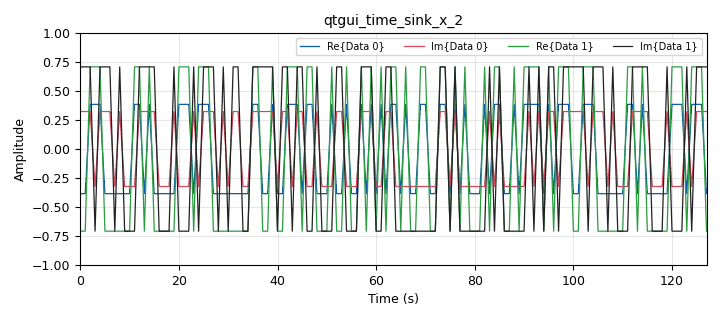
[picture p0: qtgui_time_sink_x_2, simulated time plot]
options:
  parameters:
    author: keremenhos
    generate_options: qt_gui
    id: nono2
    output_language: python
    title: Not titled yet
  states: {}

blocks:
- name: dat_len
  id: variable
  parameters:
    value: '100'
  states: {}
- name: filt_len
  id: variable
  parameters:
    value: span*sps+1
  states: {}
- name: frame_len
  id: variable
  parameters:
    value: dat_len*filt_len
  states: {}
- name: freq
  id: variable_qtgui_range
  parameters:
    label: Frequency
    orient: Qt.Horizontal
    start: '0'
    step: '0.01'
    stop: '0.5'
    value: '0.25'
  states: {}
- name: inph
  id: variable
  parameters:
    value: numpy.multiply(rrrc,numpy.cos(numpy.array(range(filt_len))*2*math.pi*freq))
  states: {}
- name: quad
  id: variable
  parameters:
    value: numpy.multiply(rrrc,numpy.sin(numpy.array(range(filt_len))*2*math.pi*freq))
  states: {}
- name: rrrc
  id: variable_rrc_filter_taps
  parameters:
    alpha: '0.1'
    gain: '1.35'
    ntaps: filt_len
    samp_rate: samp_rate
    sym_rate: samp_rate/sps
  states: {}
- name: samp_rate
  id: variable
  parameters:
    value: '1000000'
  states: {}
- name: span
  id: variable
  parameters:
    value: '4'
  states: {}
- name: sps
  id: variable
  parameters:
    value: '2'
  states: {}
- name: analog_random_source_x_0_0
  id: analog_random_source_x
  parameters:
    max: '4'
    min: '0'
    num_samps: dat_len
    repeat: 'True'
    type: int
  states: {}
- name: blocks_add_xx_0
  id: blocks_add_xx
  parameters:
    type: float
  states: {}
- name: blocks_complex_to_float_0
  id: blocks_complex_to_float
  parameters: {}
  states: {}
- name: blocks_complex_to_mag_squared_0
  id: blocks_complex_to_mag_squared
  parameters: {}
  states: {state: disabled}
- name: blocks_deinterleave_0
  id: blocks_deinterleave
  parameters:
    type: complex
  states: {state: disabled}
- name: blocks_delay_0
  id: blocks_delay
  parameters:
    delay: '1'
    type: complex
  states: {}
- name: blocks_float_to_complex_1
  id: blocks_float_to_complex
  parameters: {}
  states: {}
- name: blocks_keep_m_in_n_0
  id: blocks_keep_m_in_n
  parameters:
    m: '1'
    n: filt_len+1
    offset: filt_len-2
    type: complex
  states: {}
- name: blocks_stream_to_tagged_stream_0
  id: blocks_stream_to_tagged_stream
  parameters:
    len_tag_key: '"data_len"'
    packet_len: '100'
    type: complex
  states: {}
- name: blocks_throttle_1
  id: blocks_throttle
  parameters:
    samples_per_second: samp_rate
    type: float
  states: {}
- name: blocks_vector_insert_x_0
  id: blocks_vector_insert_x
  parameters:
    offset: '0'
    period: filt_len+1
    type: float
    vector: '[0]*filt_len'
  states: {}
- name: blocks_vector_insert_x_0_0
  id: blocks_vector_insert_x
  parameters:
    offset: '0'
    period: filt_len+1
    type: float
    vector: '[0]*filt_len'
  states: {}
- name: epy_block_0
  id: epy_block
  parameters:
    _source_code: |
      """
      Embedded Python Blocks:

      Each time this file is saved, GRC will instantiate the first class it finds
      to get ports and parameters of your block. The arguments to __init__  will
      be the parameters. All of them are required to have default values!
      """

      import numpy as np
      from gnuradio import gr


      class blk(gr.sync_block):  # other base classes are basic_block, decim_block, interp_block
          """Embedded Python Block example - a simple multiply const"""

          def __init__(self, example_param=1.0):  # only default arguments here
              """arguments to this function show up as parameters in GRC"""
              gr.sync_block.__init__(
                  self,
                  name='QAM Modulator',   # will show up in GRC
                  in_sig=[np.int32],
                  out_sig=[np.complex64]
              )
              # if an attribute with the same name as a parameter is found,
              # a callback is registered (properties work, too).
              self.example_param = example_param

          def work(self, input_items, output_items):
              """example: multiply with constant"""
              for x in range(len(input_items[0])):
                  if input_items[0][x] == 0:
                      output_items[0][x] = -0.707 - 0.707j
                  elif input_items[0][x] == 1:
                      output_items[0][x] = -0.707 + 0.707j
                  elif input_items[0][x] == 2:
                      output_items[0][x] = 0.707 - 0.707j
                  else:
                      output_items[0][x] = 0.707 + 0.707j
              return len(output_items[0])
    example_param: '1.0'
  states: {}
- name: epy_block_2
  id: epy_block
  parameters:
    _source_code: |
      """
      Embedded Python Blocks:

      Each time this file is saved, GRC will instantiate the first class it finds
      to get ports and parameters of your block. The arguments to __init__  will
      be the parameters. All of them are required to have default values!
      """

      import numpy as np
      from gnuradio import gr
      import pmt

      class blk(gr.sync_block):  # other base classes are basic_block, decim_block, interp_block
          """Embedded Python Block example - a simple multiply const"""

          def __init__(self, example_param=1.0):  # only default arguments here
              """arguments to this function show up as parameters in GRC"""
              gr.sync_block.__init__(
                  self,
                  name='Read Tags',   # will show up in GRC
                  in_sig=[np.complex64],
                  out_sig=[np.complex64]
              )
              # if an attribute with the same name as a parameter is found,
              # a callback is registered (properties work, too).
              self.example_param = example_param

          def work(self, input_items, output_items):
          
              for i in range(len(input_items[0])-1):
                  tags = self.get_tags_in_window(0, i, i+1)
                  for tag in tags:
                      key = pmt.to_python(tag.key)
                      if (key == 'corr_est') and (i+self.example_param<len(input_items[0])):
                          output_items[0][i:i+self.example_param] = input_items[0][i:i+self.example_param]
                          i = i+self.example_param
                      
                      else:
                          output_items[0][i:i+250] = 0
                          i = i+250
                  
              return len(input_items[0])
    example_param: frame_len
  states: {state: disabled}
- name: fir_filter_xxx_0
  id: fir_filter_xxx
  parameters:
    decim: '1'
    taps: quad
    type: fff
  states: {}
- name: fir_filter_xxx_0_0
  id: fir_filter_xxx
  parameters:
    decim: '1'
    taps: numpy.flip(quad)
    type: fff
  states: {}
- name: fir_filter_xxx_1
  id: fir_filter_xxx
  parameters:
    decim: '1'
    taps: inph
    type: fff
  states: {}
- name: fir_filter_xxx_1_0
  id: fir_filter_xxx
  parameters:
    decim: '1'
    taps: numpy.flip(inph)
    type: fff
  states: {}
- name: import_0
  id: import
  parameters:
    imports: import math,cmath,numpy
  states: {}
- name: qtgui_time_sink_x_0
  id: qtgui_time_sink_x
  parameters:
    size: '1024'
    srate: '1'
    tr_mode: qtgui.TRIG_MODE_TAG
    tr_tag: corr_est
    type: float
    update_time: '0.01'
    ymax: '70000'
  states: {state: disabled}
- name: qtgui_time_sink_x_1
  id: qtgui_time_sink_x
  parameters:
    name: Normal
    size: '1024'
    srate: '1'
    tr_mode: qtgui.TRIG_MODE_TAG
    tr_tag: packet_len
    type: complex
    update_time: '1'
  states: {state: disabled}
- name: qtgui_time_sink_x_1_0
  id: qtgui_time_sink_x
  parameters:
    size: '4096'
    srate: '10'
    tr_mode: qtgui.TRIG_MODE_TAG
    tr_tag: corr_est
    type: complex
    update_time: '1'
  states: {state: disabled}
- name: qtgui_time_sink_x_2
  id: qtgui_time_sink_x
  parameters:
    nconnections: '2'
    size: '128'
    srate: '1'
    type: complex
    update_time: '10'
  states: {}

connections:
- [analog_random_source_x_0_0, '0', epy_block_0, '0']
- [blocks_add_xx_0, '0', blocks_throttle_1, '0']
- [blocks_complex_to_float_0, '0', blocks_vector_insert_x_0, '0']
- [blocks_complex_to_float_0, '1', blocks_vector_insert_x_0_0, '0']
- [blocks_complex_to_mag_squared_0, '0', qtgui_time_sink_x_0, '0']
- [blocks_delay_0, '0', qtgui_time_sink_x_2, '1']
- [blocks_float_to_complex_1, '0', blocks_keep_m_in_n_0, '0']
- [blocks_float_to_complex_1, '0', qtgui_time_sink_x_1, '0']
- [blocks_keep_m_in_n_0, '0', qtgui_time_sink_x_2, '0']
- [blocks_stream_to_tagged_stream_0, '0', blocks_complex_to_float_0, '0']
- [blocks_throttle_1, '0', fir_filter_xxx_0_0, '0']
- [blocks_throttle_1, '0', fir_filter_xxx_1_0, '0']
- [blocks_vector_insert_x_0, '0', fir_filter_xxx_1, '0']
- [blocks_vector_insert_x_0_0, '0', fir_filter_xxx_0, '0']
- [epy_block_0, '0', blocks_delay_0, '0']
- [epy_block_0, '0', blocks_stream_to_tagged_stream_0, '0']
- [epy_block_2, '0', qtgui_time_sink_x_1_0, '0']
- [fir_filter_xxx_0, '0', blocks_add_xx_0, '1']
- [fir_filter_xxx_0_0, '0', blocks_float_to_complex_1, '1']
- [fir_filter_xxx_1, '0', blocks_add_xx_0, '0']
- [fir_filter_xxx_1_0, '0', blocks_float_to_complex_1, '0']

metadata:
  file_format: 1
